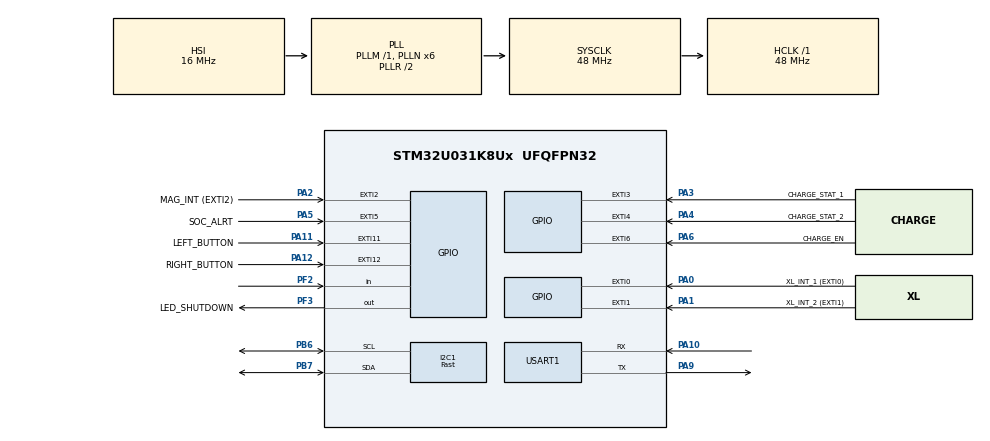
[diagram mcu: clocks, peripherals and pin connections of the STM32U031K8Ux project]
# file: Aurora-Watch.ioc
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I2C1.I2C_Speed_Mode=I2C_Fast
I2C1.Timing=0x2010091A
Mcu.Family=STM32U0
Mcu.Name=STM32U031K8Ux
Mcu.Package=UFQFPN32
NVIC.PriorityGroup=NVIC_PRIORITYGROUP_2
PA0-CK_IN.GPIO_Label=XL_INT_1 (EXTI0)
PA0-CK_IN.Signal=GPXTI0
PA1.GPIO_Label=XL_INT_2 (EXTI1)
PA1.Signal=GPXTI1
PA10.Mode=Asynchronous
PA10.Signal=USART1_RX
PA11\ [PA9].GPIO_Label=LEFT_BUTTON
PA11\ [PA9].Signal=GPXTI11
PA12\ [PA10].GPIO_Label=RIGHT_BUTTON
PA12\ [PA10].Signal=GPXTI12
PA13\ (SWDIO).Mode=Serial_Wire
PA13\ (SWDIO).Signal=DEBUG_JTMS-SWDIO
PA14\ (SWCLK).Mode=Serial_Wire
PA14\ (SWCLK).Signal=DEBUG_JTCK-SWCLK
PA2.GPIO_Label=MAG_INT (EXTI2)
PA2.Signal=GPXTI2
PA3.GPIO_Label=CHARGE_STAT_1
PA3.Signal=GPXTI3
PA4.GPIO_Label=CHARGE_STAT_2
PA4.Signal=GPXTI4
PA5.GPIO_Label=SOC_ALRT
PA5.Signal=GPXTI5
PA6.GPIO_Label=CHARGE_EN
PA6.Signal=GPXTI6
PA9.Mode=Asynchronous
PA9.Signal=USART1_TX
PB6.Mode=I2C
PB6.Signal=I2C1_SCL
PB7.Mode=I2C
PB7.Signal=I2C1_SDA
PC14-OSC32_IN.Mode=LSE-External-Oscillator
PC14-OSC32_IN.Signal=RCC_OSC32_IN
PC15-OSC32_OUT.Mode=LSE-External-Oscillator
PC15-OSC32_OUT.Signal=RCC_OSC32_OUT
PF2-NRST.Signal=GPIO_Input
PF3-BOOT0\ (BOOT0).GPIO_Label=LED_SHUTDOWN
PF3-BOOT0\ (BOOT0).Signal=GPIO_Output
ProjectManager.HeapSize=0x200
ProjectManager.StackSize=0x400
ProjectManager.TargetToolchain=CMake
RCC.ADCFreq_Value=48000000
RCC.AHBFreq_Value=48000000
RCC.CortexFreq_Value=48000000
RCC.HCLKFreq_Value=48000000
RCC.HSE_VALUE=4000000
RCC.HSI48_VALUE=48000000
RCC.HSI_VALUE=16000000
RCC.MSI_VALUE=4000000
RCC.PLLN=6
RCC.RTCClockSelection=RCC_RTCCLKSOURCE_LSE
RCC.SYSCLKFreq_VALUE=48000000
RCC.SYSCLKSource=RCC_SYSCLKSOURCE_PLLCLK
RCC.VCOOutputFreq_Value=96000000
RTC.HourFormat=RTC_HOURFORMAT_12
USART1.VirtualMode-Asynchronous=VM_ASYNC
VP_PWR_VS_SECSignals.Mode=Security/Privilege
VP_RTC_VS_RTC_Activate.Mode=RTC_Enabled
board=custom

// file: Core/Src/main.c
/* USER CODE BEGIN Header */
/**
 ******************************************************************************
 * @file           : main.c
 * @brief          : Main program body
 ******************************************************************************
 * @attention
 *
 * Copyright (c) 2026 STMicroelectronics.
 * All rights reserved.
 *
 * This software is licensed under terms that can be found in the LICENSE file
 * in the root directory of this software component.
 * If no LICENSE file comes with this software, it is provided AS-IS.
 *
 ******************************************************************************
 */
/* USER CODE END Header */
#include "main.h"
#include "is31fl3237.h"
#include "math.h"
#include "stm32u0xx_hal.h"
#include "timekeeping.h"
#include "tmp1075.h"

/* USER CODE BEGIN PD */

#define PWM_INCREMENT 5

/* USER CODE END PD */

I2C_HandleTypeDef hi2c1;

RTC_HandleTypeDef hrtc;

UART_HandleTypeDef huart1;

FL3237_HandleTypeDef fl3237_handle;
FL3237_ControlRegisterConfig fl3237_cr;

TMP1075_HandleTypeDef tmp1075_handle;

uint8_t time_str[9];

void SystemClock_Config(void);
static void MX_GPIO_Init(void);
static void MX_I2C1_Init(void);
static void MX_RTC_Init(void);
static void MX_USART1_UART_Init(void);

void FL3237_Config();

int main(void) {

  /* MCU Configuration--------------------------------------------------------*/

  /* Reset of all peripherals, Initializes the Flash interface and the Systick.
   */
  HAL_Init();

  /* Configure the system clock */
  SystemClock_Config();

  /* Initialize all configured peripherals */
  MX_GPIO_Init();
  MX_I2C1_Init();
  MX_RTC_Init();
  MX_USART1_UART_Init();
  /* USER CODE BEGIN 2 */

  FL3237_Config();

  FL3237_SetHardwareChipEnable(&fl3237_handle, FL3237_HARDWARE_CHIP_ENABLE);

  /* USER CODE END 2 */

  // // First we want to get the time from the user, for the demo, this can
  // block
  // // indefinitely
  // HAL_UART_Transmit(&huart1, "Watch Ready", 11, UINT32_MAX);
  // HAL_UART_Receive(&huart1, time_str, 8, UINT32_MAX);
  // time_str[8] = 0; // Null terminator

  // // One we get that time string, we set the RTC with the time
  // TIMEKEEPING_SetRTCFromString(&hrtc, time_str, 8);
  /* Infinite loop */
  /* USER CODE BEGIN WHILE */
  RTC_TimeTypeDef current_time;
  FL3237_RGB_LED watch_face[12];
  while (1) {
    HAL_RTC_GetTime(&hrtc, &current_time, RTC_FORMAT_BIN);

    TIMEKEEPING_TimeToLedPwm(&current_time, watch_face);

    FL3237_BulkSetPWM(&fl3237_handle, 0, watch_face, 12);

    FL3237_UpdatePWM(&fl3237_handle);

    HAL_Delay(5000);
  }
  /* USER CODE END 3 */
}

void SystemClock_Config(void) {
  RCC_OscInitTypeDef RCC_OscInitStruct = {0};
  RCC_ClkInitTypeDef RCC_ClkInitStruct = {0};

  /** Configure the main internal regulator output voltage
   */
  HAL_PWREx_ControlVoltageScaling(PWR_REGULATOR_VOLTAGE_SCALE1);

  /** Configure LSE Drive Capability
   */
  HAL_PWR_EnableBkUpAccess();
  __HAL_RCC_LSEDRIVE_CONFIG(RCC_LSEDRIVE_LOW);

  /** Initializes the RCC Oscillators according to the specified parameters
   * in the RCC_OscInitTypeDef structure.
   */
  RCC_OscInitStruct.OscillatorType =
      RCC_OSCILLATORTYPE_HSI | RCC_OSCILLATORTYPE_LSE;
  RCC_OscInitStruct.LSEState = RCC_LSE_ON;
  RCC_OscInitStruct.HSIState = RCC_HSI_ON;
  RCC_OscInitStruct.HSICalibrationValue = RCC_HSICALIBRATION_DEFAULT;
  RCC_OscInitStruct.PLL.PLLState = RCC_PLL_ON;
  RCC_OscInitStruct.PLL.PLLSource = RCC_PLLSOURCE_HSI;
  RCC_OscInitStruct.PLL.PLLM = RCC_PLLM_DIV1;
  RCC_OscInitStruct.PLL.PLLN = 6;
  RCC_OscInitStruct.PLL.PLLP = RCC_PLLP_DIV2;
  RCC_OscInitStruct.PLL.PLLQ = RCC_PLLQ_DIV2;
  RCC_OscInitStruct.PLL.PLLR = RCC_PLLR_DIV2;
  if (HAL_RCC_OscConfig(&RCC_OscInitStruct) != HAL_OK) {
    Error_Handler();
  }

  /** Initializes the CPU, AHB and APB buses clocks
   */
  RCC_ClkInitStruct.ClockType =
      RCC_CLOCKTYPE_HCLK | RCC_CLOCKTYPE_SYSCLK | RCC_CLOCKTYPE_PCLK1;
  RCC_ClkInitStruct.SYSCLKSource = RCC_SYSCLKSOURCE_PLLCLK;
  RCC_ClkInitStruct.AHBCLKDivider = RCC_SYSCLK_DIV1;
  RCC_ClkInitStruct.APB1CLKDivider = RCC_HCLK_DIV1;

  if (HAL_RCC_ClockConfig(&RCC_ClkInitStruct, FLASH_LATENCY_1) != HAL_OK) {
    Error_Handler();
  }
}

static void MX_I2C1_Init(void) {

  hi2c1.Instance = I2C1;
  hi2c1.Init.Timing = 0x2010091A;
  hi2c1.Init.OwnAddress1 = 0;
  hi2c1.Init.AddressingMode = I2C_ADDRESSINGMODE_7BIT;
  hi2c1.Init.DualAddressMode = I2C_DUALADDRESS_DISABLE;
  hi2c1.Init.OwnAddress2 = 0;
  hi2c1.Init.OwnAddress2Masks = I2C_OA2_NOMASK;
  hi2c1.Init.GeneralCallMode = I2C_GENERALCALL_DISABLE;
  hi2c1.Init.NoStretchMode = I2C_NOSTRETCH_DISABLE;
  if (HAL_I2C_Init(&hi2c1) != HAL_OK) {
    Error_Handler();
  }

  /** Configure Analogue filter
   */
  if (HAL_I2CEx_ConfigAnalogFilter(&hi2c1, I2C_ANALOGFILTER_ENABLE) != HAL_OK) {
    Error_Handler();
  }

  /** Configure Digital filter
   */
  if (HAL_I2CEx_ConfigDigitalFilter(&hi2c1, 0) != HAL_OK) {
    Error_Handler();
  }
}

static void MX_RTC_Init(void) {

  /** Initialize RTC Only
   */
  hrtc.Instance = RTC;
  hrtc.Init.HourFormat = RTC_HOURFORMAT_12;
  hrtc.Init.AsynchPrediv = 127;
  hrtc.Init.SynchPrediv = 255;
  hrtc.Init.OutPut = RTC_OUTPUT_DISABLE;
  hrtc.Init.OutPutRemap = RTC_OUTPUT_REMAP_NONE;
  hrtc.Init.OutPutPolarity = RTC_OUTPUT_POLARITY_HIGH;
  hrtc.Init.OutPutType = RTC_OUTPUT_TYPE_OPENDRAIN;
  hrtc.Init.OutPutPullUp = RTC_OUTPUT_PULLUP_NONE;
  hrtc.Init.BinMode = RTC_BINARY_NONE;
  if (HAL_RTC_Init(&hrtc) != HAL_OK) {
    Error_Handler();
  }
}

static void MX_USART1_UART_Init(void) {

  huart1.Instance = USART1;
  huart1.Init.BaudRate = 115200;
  huart1.Init.WordLength = UART_WORDLENGTH_8B;
  huart1.Init.StopBits = UART_STOPBITS_1;
  huart1.Init.Parity = UART_PARITY_NONE;
  huart1.Init.Mode = UART_MODE_TX_RX;
  huart1.Init.HwFlowCtl = UART_HWCONTROL_NONE;
  huart1.Init.OverSampling = UART_OVERSAMPLING_16;
  huart1.Init.OneBitSampling = UART_ONE_BIT_SAMPLE_DISABLE;
  huart1.Init.ClockPrescaler = UART_PRESCALER_DIV1;
  huart1.AdvancedInit.AdvFeatureInit = UART_ADVFEATURE_NO_INIT;
  if (HAL_UART_Init(&huart1) != HAL_OK) {
    Error_Handler();
  }
  if (HAL_UARTEx_SetTxFifoThreshold(&huart1, UART_TXFIFO_THRESHOLD_1_8) !=
      HAL_OK) {
    Error_Handler();
  }
  if (HAL_UARTEx_SetRxFifoThreshold(&huart1, UART_RXFIFO_THRESHOLD_1_8) !=
      HAL_OK) {
    Error_Handler();
  }
  if (HAL_UARTEx_DisableFifoMode(&huart1) != HAL_OK) {
    Error_Handler();
  }
}

static void MX_GPIO_Init(void) {
  GPIO_InitTypeDef GPIO_InitStruct = {0};

  /* GPIO Ports Clock Enable */
  __HAL_RCC_GPIOC_CLK_ENABLE();
  __HAL_RCC_GPIOF_CLK_ENABLE();
  __HAL_RCC_GPIOA_CLK_ENABLE();
  __HAL_RCC_GPIOB_CLK_ENABLE();

  /*Configure GPIO pin Output Level */
  HAL_GPIO_WritePin(LED_SHUTDOWN_GPIO_Port, LED_SHUTDOWN_Pin, GPIO_PIN_RESET);

  /*Configure GPIO pin : PF2 */
  GPIO_InitStruct.Pin = GPIO_PIN_2;
  GPIO_InitStruct.Mode = GPIO_MODE_INPUT;
  GPIO_InitStruct.Pull = GPIO_NOPULL;
  HAL_GPIO_Init(GPIOF, &GPIO_InitStruct);

  /*Configure GPIO pins : XL_INT_1_Pin XL_INT_2_Pin MAG_INT_Pin
     CHARGE_STAT_1_Pin CHARGE_STAT_2_Pin SOC_ALRT_Pin CHARGE_EN_Pin
     LEFT_BUTTON_Pin RIGHT_BUTTON_Pin */
  GPIO_InitStruct.Pin = XL_INT_1_Pin | XL_INT_2_Pin | MAG_INT_Pin |
                        CHARGE_STAT_1_Pin | CHARGE_STAT_2_Pin | SOC_ALRT_Pin |
                        CHARGE_EN_Pin | LEFT_BUTTON_Pin | RIGHT_BUTTON_Pin;
  GPIO_InitStruct.Mode = GPIO_MODE_IT_RISING;
  GPIO_InitStruct.Pull = GPIO_NOPULL;
  HAL_GPIO_Init(GPIOA, &GPIO_InitStruct);

  /*Configure GPIO pin : LED_SHUTDOWN_Pin */
  GPIO_InitStruct.Pin = LED_SHUTDOWN_Pin;
  GPIO_InitStruct.Mode = GPIO_MODE_OUTPUT_PP;
  GPIO_InitStruct.Pull = GPIO_NOPULL;
  GPIO_InitStruct.Speed = GPIO_SPEED_FREQ_LOW;
  HAL_GPIO_Init(LED_SHUTDOWN_GPIO_Port, &GPIO_InitStruct);

}

/* USER CODE BEGIN 4 */
void FL3237_Config() {
  fl3237_handle.i2c_bus = &hi2c1;
  fl3237_handle.shutdown_port = LED_SHUTDOWN_GPIO_Port;
  fl3237_handle.shutdown_pin = LED_SHUTDOWN_Pin;
  fl3237_handle.address = FL3237_I2C_AD_TO_GND;
  fl3237_handle.max_transmit_timeout_ms = 100;

  FL3237_Init(&fl3237_handle);
  FL3237_SetGlobalCurrent(&fl3237_handle, 0xFF);
  FL3237_SetAllScaling(
      &fl3237_handle,
      (FL3237_LED_SCALE){.red = 0xFF, .blue = 0xFF, .green = 0xFF});

  fl3237_cr.ssd = FL3237_SSD_CHIP_ENABLE;
  fl3237_cr.pms = FL3237_PMS_8_BIT;
  fl3237_cr.osc = FL3237_OSC_62_KHZ;
  FL3237_SetControlRegister(&fl3237_handle, fl3237_cr);
}

/* USER CODE END 4 */

void Error_Handler(void) {
  __disable_irq();
  while (1) {
  }
}
#ifdef USE_FULL_ASSERT
/**
 * @brief  Reports the name of the source file and the source line number
 *         where the assert_param error has occurred.
 * @param  file: pointer to the source file name
 * @param  line: assert_param error line source number
 * @retval None
 */
void assert_failed(uint8_t *file, uint32_t line) {
  /* USER CODE BEGIN 6 */
  /* User can add his own implementation to report the file name and line
     number, ex: printf("Wrong parameters value: file %s on line %d\r\n", file,
     line) */
  /* USER CODE END 6 */
}
#endif /* USE_FULL_ASSERT */
